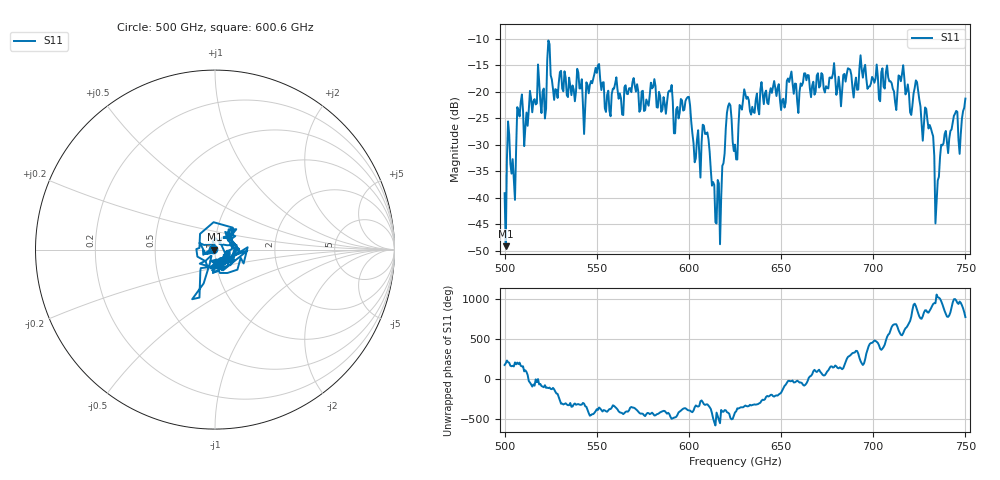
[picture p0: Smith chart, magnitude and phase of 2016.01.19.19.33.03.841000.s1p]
!Created with skrf (http://scikit-rf.org).
# GHz S RI R 50.0
!freq ReS11 ImS11
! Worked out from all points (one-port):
!   401 points, 500 GHz to 750 GHz, reference 50 ohm
!   lowest |S11| = -49.2 dB at 500.6 GHz (marker M1), VSWR 1.01, Z = 49.7 - j0.0896 ohm
!   |S11| at or under -10 dB: start of sweep to end of sweep
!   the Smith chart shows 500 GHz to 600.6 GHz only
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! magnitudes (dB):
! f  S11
! 500 GHz  -39.2
! 500.6 GHz  -49.2
! 502.5 GHz  -28.1
! 505 GHz  -36.8
! 508.1 GHz  -24.7
! 521.2 GHz  -19.4
! 524.4 GHz  -11.0
! 527.5 GHz  -19.5
! 531.2 GHz  -19.4
! 543.8 GHz  -22.8
! 550 GHz  -16.5
! 562.5 GHz  -20.3
! 580.6 GHz  -19.1
! 593.8 GHz  -22.9
! 599.4 GHz  -21.0
! 605 GHz  -27.3
! 608.8 GHz  -28.0
! 615.6 GHz  -36.7
! 621.2 GHz  -22.8
! 625 GHz  -30.0
! 630.6 GHz  -20.5
! 656.2 GHz  -18.5
! 687.5 GHz  -15.9
! 718.8 GHz  -18.6
! 729.4 GHz  -25.3
! 735 GHz  -36.8
! 738.1 GHz  -29.7
! 750 GHz  -21.3
